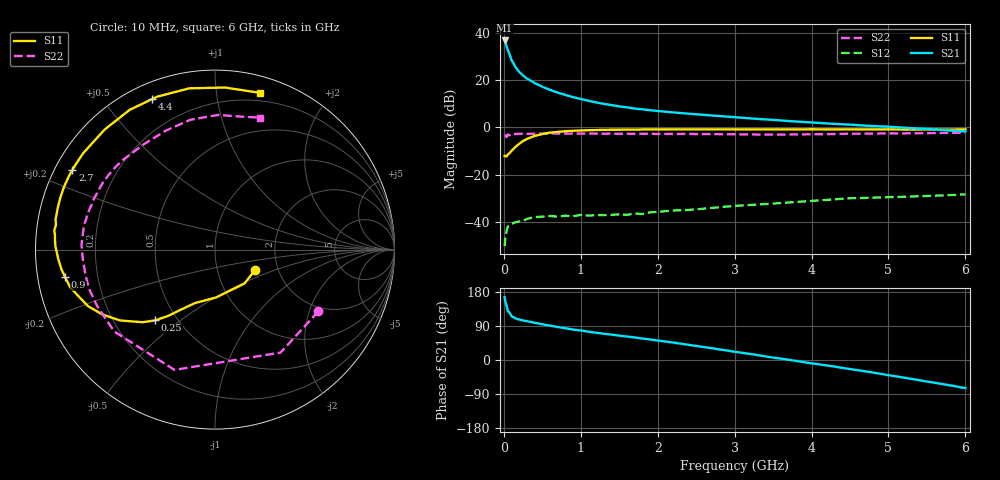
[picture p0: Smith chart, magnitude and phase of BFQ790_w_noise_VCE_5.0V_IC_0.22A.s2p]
! Infineon Technologies  Discrete & RF Semiconductors
! BFQ790
! VCE =  5.0 V,  IC = 0.22 A
! Common Emitter S-Parameters:  May 2015
# GHz  S  MA  R  50
!  f  S11  S21  S12  S22
! GHz  MAG  ANG  MAG  ANG  MAG  ANG  MAG  ANG
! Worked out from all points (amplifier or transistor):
!   77 points, 10 MHz to 6 GHz, reference 50 ohm
!   highest |S21| = 36.7 dB at 10 MHz (marker M1)
!   |S21| within 3 dB of that: start of sweep to 41 MHz
!   unconditionally stable (mu >= 1): start of sweep to 17.02 MHz; 163.7 MHz to end of sweep
!   at 130 MHz: K = 0.90, MSG = 33.6 dB, |S12| = -40.4 dB
!   at 2.2 GHz: K = 1.30, MAG = 17.4 dB, |S12| = -35.1 dB
!   at 6 GHz: K = 1.12, MAG = 11.2 dB, |S12| = -28.3 dB
!   lowest NFmin = 3.50 dB at 1.5 GHz
!   S11 on the Smith chart (normalised r, x): 10 MHz: 1.52, -0.37; 250 MHz: 0.38, -0.41; 900 MHz: 0.08, -0.09; 2.7 GHz: 0.05, +0.26; 4.4 GHz: 0.07, +0.66; 6 GHz: 0.13, +1.32
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0.01  0.2508 -27.1  68.69 165.9  0.0031 44.9  0.6707 -30.9
0.02  0.2503 -49.2  63.39 153.3  0.0047 48.6  0.68 -57.5
0.05  0.2664 -88.6  43.66 129.8  0.008 35.0  0.7072 -108.6
0.1  0.3199 -110.9  26.36 115.2  0.0092 20.3  0.7235 -140.9
0.15  0.3851 -119.6  18.85 109.7  0.0099 21.5  0.728 -154.4
0.2  0.4519 -125.2  14.9 106.7  0.0103 23.3  0.7335 -161.7
0.25  0.5163 -130.2  12.47 104.4  0.0106 18.4  0.7345 -166.4
0.3  0.5711 -134.9  10.78 102.3  0.0117 14.9  0.7352 -170.0
0.4  0.6605 -143.3  8.638 98.2  0.0128 18.6  0.7377 -175.0
0.5  0.7253 -150.2  7.215 94.3  0.013 11.6  0.7404 -178.6
0.6  0.7744 -156.0  6.22 90.6  0.0135 13.5  0.7437 178.4
0.7  0.804 -161.2  5.434 87.0  0.013 13.2  0.7434 175.9
0.9  0.8491 -169.6  4.361 80.4  0.0133 9.3  0.741 172.2
1.1  0.873 -176.0  3.651 74.8  0.0137 12.4  0.7413 168.7
1.5  0.8953 174.8  2.785 64.4  0.0146 12.8  0.735 163.0
2.1  0.9072 163.6  2.147 48.8  0.017 13.0  0.7288 154.3
2.7  0.9097 150.9  1.787 31.2  0.0199 9.3  0.7219 142.7
3.1  0.9068 141.6  1.599 19.0  0.0225 5.2  0.7125 133.7
4.1  0.9095 119.3  1.242 -11.6  0.0287 -9.2  0.7186 110.1
4.4  0.9086 112.8  1.164 -20.7  0.0311 -14.7  0.7301 103.0
5.1  0.9054 96.6  1.01 -43.2  0.0339 -28.8  0.7495 86.7
6  0.9085 74.0  0.824 -74.3  0.0385 -49.7  0.7773 71.1
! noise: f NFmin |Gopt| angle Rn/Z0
0.45  5.75  0.49  142  0.55
0.9  4.04  0.62  168  0.18
1.5  3.5  0.72  -172  0.1
1.8  3.53  0.73  -167  0.11
2.6  3.76  0.75  -151  0.29
3.5  4.27  0.85  -135  0.6
